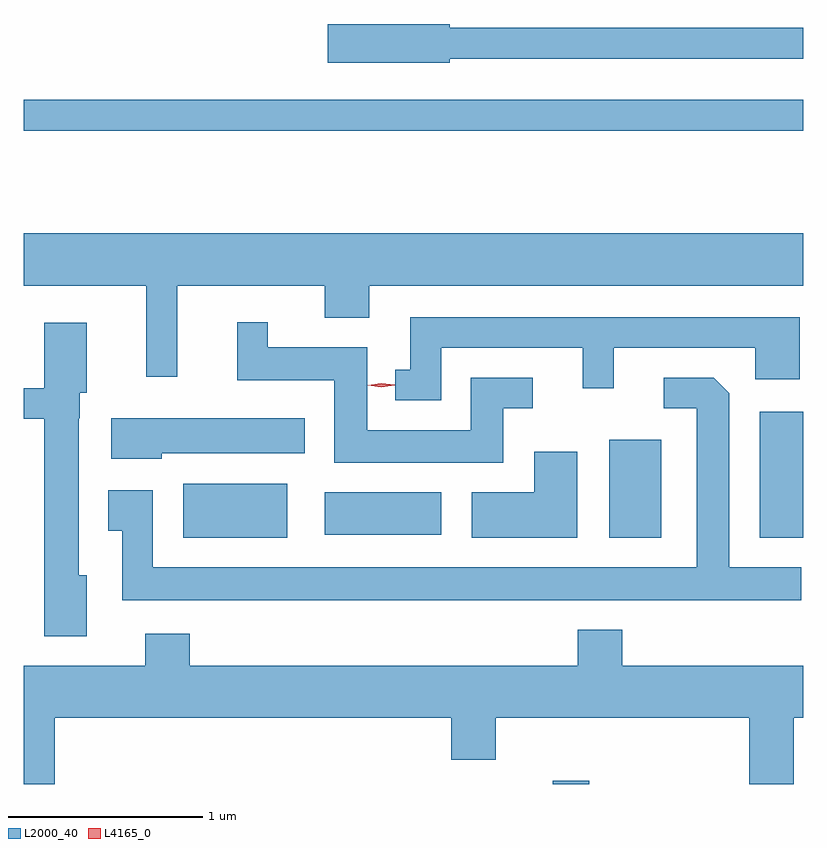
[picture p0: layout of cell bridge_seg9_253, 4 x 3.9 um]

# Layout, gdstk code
import gdstk
lib = gdstk.Library(unit=1e-6, precision=1e-09)
def R(c, l, rs):  # rectangles x0, y0, x1, y1
    for r in rs: c.add(gdstk.rectangle(r[:2], r[2:], *l))
def P(c, l, *ps):  # polygons
    for p in ps: c.add(gdstk.Polygon(p, *l))
L2000_40 = (2000, 40)
L4165_0 = (4165, 0)

bridge_seg9_253 = lib.new_cell('bridge_seg9_253')
R(bridge_seg9_253, L2000_40, [(1066.311,2066.957,1066.499,2066.974), (1064.416,2068.221,1064.949,2068.499), (1066.601,2068.221,1066.869,2068.724), (1067.376,2068.221,1067.597,2068.869), (1065.141,2068.236,1065.739,2068.454), (1063.597,2070.311,1067.597,2070.469)])
P(bridge_seg9_253, L2000_40, [(1065.784,2070.681),(1067.597,2070.681),(1067.597,2070.839),(1065.784,2070.839),(1065.784,2070.859),(1065.156,2070.859),(1065.156,2070.661),(1065.784,2070.661)],
  [(1064.384,2069.516),(1065.141,2069.516),(1065.141,2069.351),(1065.369,2069.351),(1065.369,2069.516),(1067.597,2069.516),(1067.597,2069.784),(1063.597,2069.784),(1063.597,2069.516),(1064.226,2069.516),(1064.226,2069.048),(1064.384,2069.048)],
  [(1065.739,2069.196),(1066.466,2069.196),(1066.466,2068.988),(1066.624,2068.988),(1066.624,2069.196),(1067.351,2069.196),(1067.351,2069.036),(1067.579,2069.036),(1067.579,2069.354),(1065.581,2069.354),(1065.581,2069.084),(1065.503,2069.084),(1065.503,2068.926),(1065.739,2068.926)],
  [(1066.059,2068.886),(1066.208,2068.886),(1066.208,2069.044),(1065.891,2069.044),(1065.891,2068.774),(1065.359,2068.774),(1065.359,2069.199),(1064.849,2069.199),(1064.849,2069.327),(1064.691,2069.327),(1064.691,2069.031),(1065.191,2069.031),(1065.191,2068.606),(1066.059,2068.606)],
  [(1063.919,2068.029),(1063.879,2068.029),(1063.879,2068.835),(1063.884,2068.835),(1063.884,2068.966),(1063.919,2068.966),(1063.919,2069.324),(1063.701,2069.324),(1063.701,2068.989),(1063.597,2068.989),(1063.597,2068.831),(1063.701,2068.831),(1063.701,2067.716),(1063.919,2067.716)],
  [(1067.588,2068.069),(1067.219,2068.069),(1067.219,2068.963),(1067.139,2069.044),(1066.883,2069.044),(1066.883,2068.886),(1067.051,2068.886),(1067.051,2068.069),(1064.259,2068.069),(1064.259,2068.464),(1064.031,2068.464),(1064.031,2068.256),(1064.101,2068.256),(1064.101,2067.901),(1067.588,2067.901)],
  [(1064.304,2068.656),(1065.039,2068.656),(1065.039,2068.834),(1064.046,2068.834),(1064.046,2068.626),(1064.304,2068.626)],
  [(1066.439,2068.664),(1066.216,2068.664),(1066.216,2068.454),(1065.896,2068.454),(1065.896,2068.221),(1066.439,2068.221)],
  [(1063.754,2067.296),(1065.791,2067.296),(1065.791,2067.081),(1066.019,2067.081),(1066.019,2067.296),(1067.321,2067.296),(1067.321,2066.957),(1067.549,2066.957),(1067.549,2067.296),(1067.597,2067.296),(1067.597,2067.564),(1066.669,2067.564),(1066.669,2067.749),(1066.441,2067.749),(1066.441,2067.564),(1064.449,2067.564),(1064.449,2067.729),(1064.221,2067.729),(1064.221,2067.564),(1063.597,2067.564),(1063.597,2066.957),(1063.754,2066.957)])
P(bridge_seg9_253, L4165_0, [(1065.431,2068.995),(1065.362,2069.004),(1065.362,2069.004),(1065.362,2069.005),(1065.431,2069.014),(1065.501,2069.006),(1065.501,2069.005),(1065.501,2069.004)])

lib.write_gds('bridge_seg9_253.gds')
